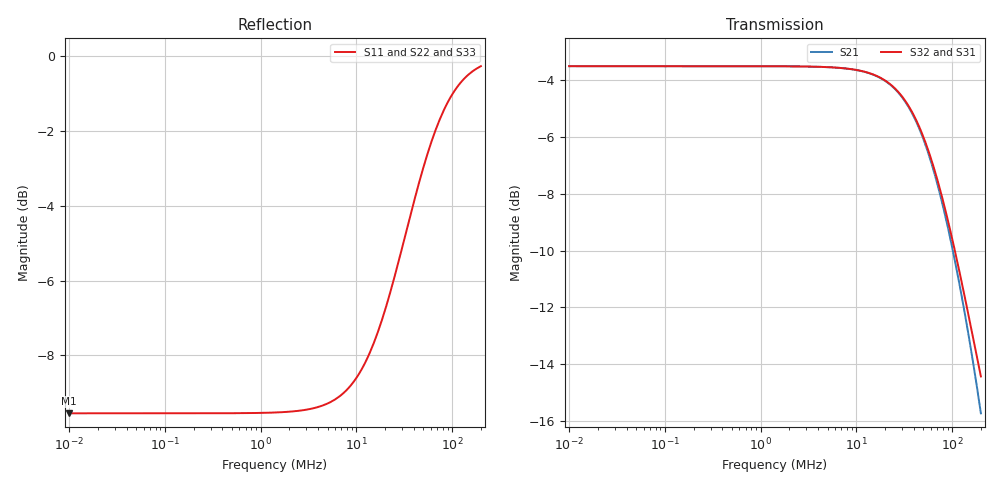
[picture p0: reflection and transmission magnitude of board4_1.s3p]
! Created with skrf 1.8.0 (http://scikit-rf.org).
# MHz S RI R 50.0
!freq ReS11 ImS11 ReS12 ImS12 ReS13 ImS13
! ReS21 ImS21 ReS22 ImS22 ReS23 ImS23
! ReS31 ImS31 ReS32 ImS32 ReS33 ImS33
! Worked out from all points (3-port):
!   201 points, 10 kHz to 200 MHz, reference 50 ohm
!   strongest paths, dB at 10 kHz, 118.9 kHz, 1.414 MHz, 16.82 MHz, 200 MHz:
!     S32: -3.5, -3.5, -3.5, -3.9, -14.4
!     S31: -3.5, -3.5, -3.5, -3.9, -14.6
!     S21: -3.5, -3.5, -3.5, -3.9, -15.7
!   lowest |S11| = -9.5 dB at 10 kHz (marker M1), VSWR 2.00, Z = 25 - j0.00658 ohm
!   |S11| at or under -10 dB: nowhere
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0.01  -0.3333 -0.000117  0.6666 -0.000119  0.6666 -0.00012
      0.6666 -0.000119  -0.3333 -0.000117  0.6666 -0.00012
      0.6666 -0.00012  0.6666 -0.00012  -0.3333 -0.000116
1.414214  -0.3337 -0.0165  0.6662 -0.0168  0.6662 -0.0169
          0.6662 -0.0168  -0.3337 -0.0165  0.6662 -0.017
          0.6662 -0.0169  0.6662 -0.017  -0.3337 -0.0164
4.203667  -0.337 -0.0489  0.6629 -0.0498  0.6629 -0.0501
          0.6629 -0.0498  -0.337 -0.0488  0.6629 -0.0501
          0.6629 -0.0501  0.6629 -0.0501  -0.337 -0.0485
9.754743  -0.3529 -0.1107  0.6471 -0.1128  0.6471 -0.1136
          0.6471 -0.1128  -0.3528 -0.1106  0.6472 -0.1136
          0.6471 -0.1136  0.6472 -0.1136  -0.3527 -0.1099
19.51138  -0.4054 -0.2033  0.5946 -0.2076  0.5948 -0.2092
          0.5946 -0.2076  -0.4052 -0.2032  0.5949 -0.2093
          0.5948 -0.2092  0.5949 -0.2093  -0.4048 -0.2019
35.34677  -0.5239 -0.2945  0.4762 -0.3023  0.4767 -0.3054
          0.4762 -0.3023  -0.5235 -0.2945  0.4769 -0.3057
          0.4767 -0.3054  0.4769 -0.3057  -0.5224 -0.2925
52.52801  -0.6478 -0.3228  0.3523 -0.3346  0.3532 -0.3394
          0.3523 -0.3346  -0.6472 -0.323  0.3535 -0.3401
          0.3532 -0.3394  0.3535 -0.3401  -0.6453 -0.3207
74.28942  -0.7637 -0.3046  0.2366 -0.3215  0.2377 -0.3288
          0.2366 -0.3215  -0.7628 -0.3053  0.2381 -0.33
          0.2377 -0.3288  0.2381 -0.33  -0.7602 -0.3029
121.8929  -0.8929 -0.221  0.1072 -0.2489  0.1083 -0.2619
          0.1072 -0.2489  -0.8918 -0.2226  0.1088 -0.2641
          0.1083 -0.2619  0.1088 -0.2641  -0.8885 -0.2203
200  -0.9621 -0.1134  0.0374 -0.1593  0.0377 -0.182
     0.0374 -0.1593  -0.961 -0.1163  0.0382 -0.1861
     0.0377 -0.182  0.0382 -0.1861  -0.9572 -0.1136
